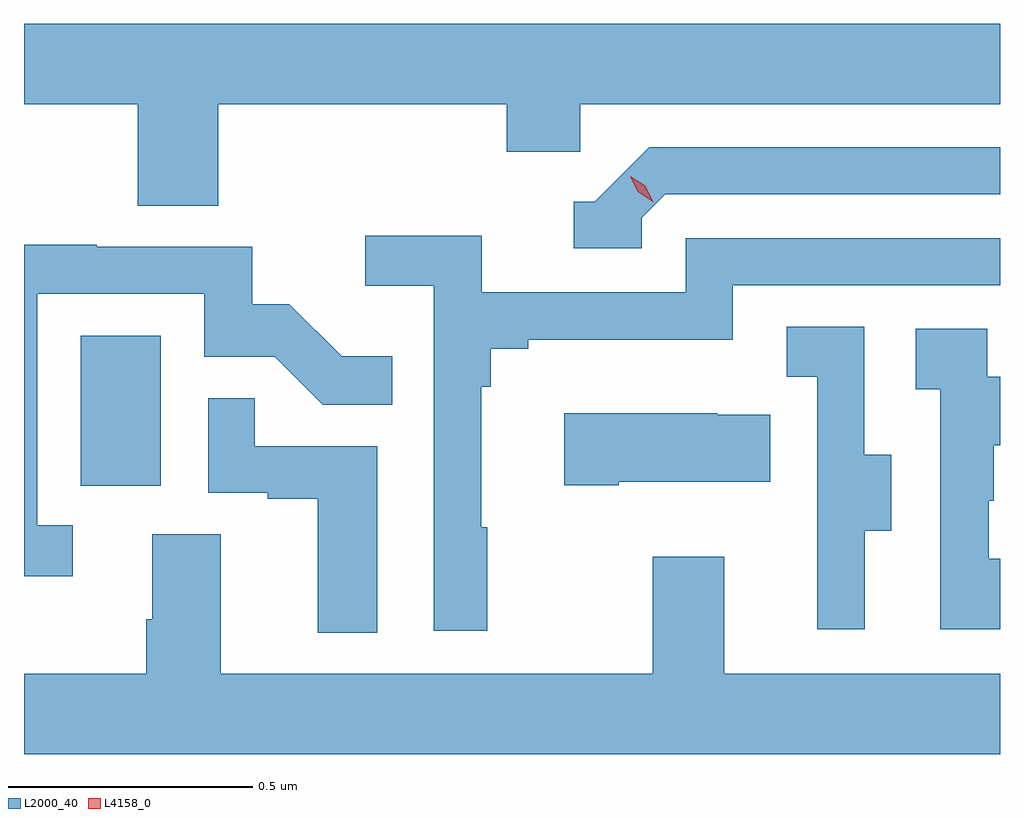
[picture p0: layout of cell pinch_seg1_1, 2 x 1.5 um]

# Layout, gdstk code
import gdstk
lib = gdstk.Library(unit=1e-6, precision=1e-09)
def R(c, l, rs):  # rectangles x0, y0, x1, y1
    for r in rs: c.add(gdstk.rectangle(r[:2], r[2:], *l))
def P(c, l, *ps):  # polygons
    for p in ps: c.add(gdstk.Polygon(p, *l))
L2000_40 = (2000, 40)
L4158_0 = (4158, 0)

pinch_seg1_1 = lib.new_cell('pinch_seg1_1')
R(pinch_seg1_1, L2000_40, [(1105.046,577.59,1105.21,577.897)])
P(pinch_seg1_1, L2000_40, [(1105.328,578.372),(1105.919,578.372),(1105.919,578.274),(1106.07,578.274),(1106.07,578.372),(1106.93,578.372),(1106.93,578.536),(1104.93,578.536),(1104.93,578.372),(1105.163,578.372),(1105.163,578.164),(1105.328,578.164)],
  [(1106.196,578.139),(1106.244,578.187),(1106.93,578.187),(1106.93,578.283),(1106.211,578.283),(1106.1,578.172),(1106.057,578.172),(1106.057,578.076),(1106.196,578.076)],
  [(1105.879,577.505),(1105.867,577.505),(1105.867,577.793),(1105.886,577.793),(1105.886,577.87),(1105.963,577.87),(1105.963,577.889),(1106.382,577.889),(1106.382,578.001),(1106.93,578.001),(1106.93,578.097),(1106.286,578.097),(1106.286,577.986),(1105.868,577.986),(1105.868,578.102),(1105.629,578.102),(1105.629,578),(1105.77,578),(1105.77,577.293),(1105.879,577.293)],
  [(1105.03,577.509),(1104.957,577.509),(1104.957,577.983),(1105.299,577.983),(1105.299,577.854),(1105.444,577.854),(1105.542,577.756),(1105.685,577.756),(1105.685,577.855),(1105.581,577.855),(1105.474,577.962),(1105.398,577.962),(1105.398,578.079),(1105.079,578.079),(1105.079,578.084),(1104.93,578.084),(1104.93,577.404),(1105.03,577.404)],
  [(1106.653,577.498),(1106.707,577.498),(1106.707,577.653),(1106.652,577.653),(1106.652,577.916),(1106.493,577.916),(1106.493,577.813),(1106.556,577.813),(1106.556,577.509),(1106.555,577.509),(1106.555,577.296),(1106.653,577.296)],
  [(1106.93,577.44),(1106.907,577.44),(1106.907,577.559),(1106.917,577.559),(1106.917,577.673),(1106.93,577.673),(1106.93,577.813),(1106.904,577.813),(1106.904,577.911),(1106.757,577.911),(1106.757,577.787),(1106.808,577.787),(1106.808,577.296),(1106.93,577.296)],
  [(1105.654,577.671),(1105.403,577.671),(1105.403,577.769),(1105.308,577.769),(1105.308,577.575),(1105.429,577.575),(1105.429,577.563),(1105.532,577.563),(1105.532,577.289),(1105.654,577.289)],
  [(1106.149,577.598),(1106.459,577.598),(1106.459,577.735),(1106.351,577.735),(1106.351,577.738),(1106.037,577.738),(1106.037,577.591),(1106.149,577.591)],
  [(1106.93,577.204),(1106.365,577.204),(1106.365,577.444),(1106.218,577.444),(1106.218,577.204),(1105.333,577.204),(1105.333,577.49),(1105.193,577.49),(1105.193,577.316),(1105.181,577.316),(1105.181,577.204),(1104.93,577.204),(1104.93,577.04),(1106.93,577.04)])
P(pinch_seg1_1, L4158_0, [(1106.218,578.172),(1106.188,578.192),(1106.172,578.224),(1106.172,578.224),(1106.172,578.224),(1106.203,578.205),(1106.219,578.172),(1106.219,578.172)])

lib.write_gds('pinch_seg1_1.gds')
